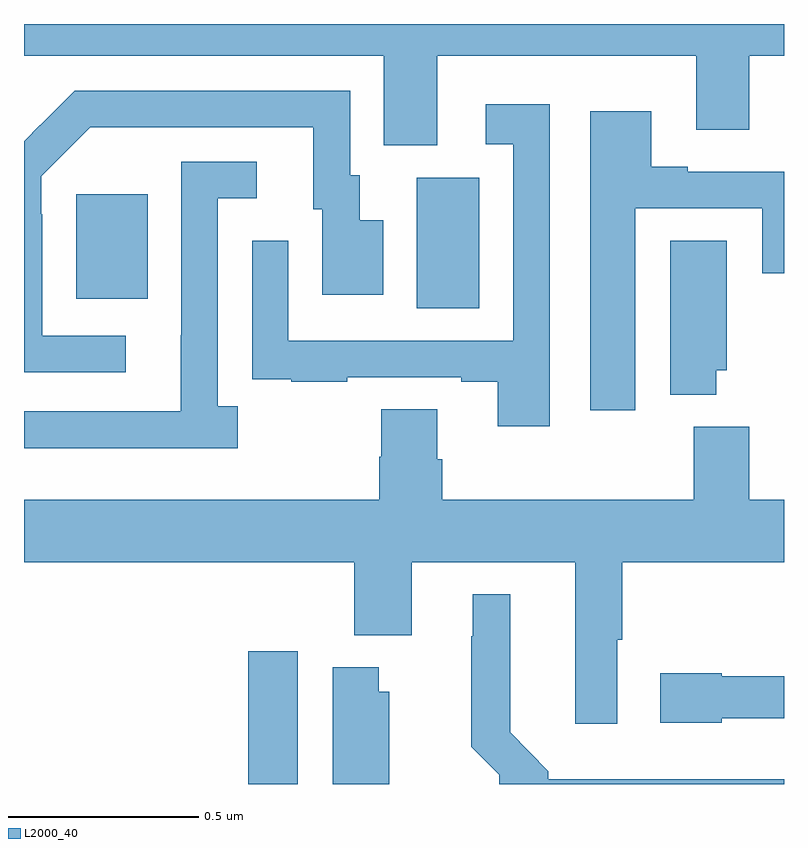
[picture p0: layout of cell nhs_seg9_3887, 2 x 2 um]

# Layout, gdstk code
import gdstk
lib = gdstk.Library(unit=1e-6, precision=1e-09)
def R(c, l, rs):  # rectangles x0, y0, x1, y1
    for r in rs: c.add(gdstk.rectangle(r[:2], r[2:], *l))
def P(c, l, *ps):  # polygons
    for p in ps: c.add(gdstk.Polygon(p, *l))
L2000_40 = (2000, 40)

nhs_seg9_3887 = lib.new_cell('nhs_seg9_3887')
R(nhs_seg9_3887, L2000_40, [(159.59,1198.5,159.721,1198.849), (160.034,1199.752,160.198,1200.096), (159.137,1199.777,159.325,1200.052)])
P(nhs_seg9_3887, L2000_40, [(160.087,1200.416),(160.769,1200.416),(160.769,1200.222),(160.909,1200.222),(160.909,1200.416),(161,1200.416),(161,1200.5),(159,1200.5),(159,1200.416),(159.947,1200.416),(159.947,1200.181),(160.087,1200.181)],
  [(159.268,1199.679),(159.048,1199.679),(159.048,1199.999),(159.045,1199.999),(159.045,1200.099),(159.174,1200.228),(159.761,1200.228),(159.761,1200.012),(159.785,1200.012),(159.785,1199.787),(159.946,1199.787),(159.946,1199.983),(159.883,1199.983),(159.883,1200.102),(159.858,1200.102),(159.858,1200.324),(159.134,1200.324),(159.043,1200.233),(159.042,1200.234),(159,1200.192),(159,1199.583),(159.268,1199.583)],
  [(160.383,1200.289),(160.215,1200.289),(160.215,1200.183),(160.287,1200.183),(160.287,1199.667),(159.696,1199.667),(159.696,1199.929),(159.6,1199.929),(159.6,1199.674),(159.601,1199.674),(159.601,1199.565),(159.703,1199.565),(159.703,1199.559),(159.851,1199.559),(159.851,1199.571),(160.151,1199.571),(160.151,1199.559),(160.247,1199.559),(160.247,1199.442),(160.383,1199.442)],
  [(160.609,1200.015),(160.943,1200.015),(160.943,1199.844),(161,1199.844),(161,1200.111),(160.747,1200.111),(160.747,1200.124),(160.651,1200.124),(160.651,1200.271),(160.49,1200.271),(160.49,1199.484),(160.609,1199.484)],
  [(159.562,1199.494),(159.51,1199.494),(159.51,1200.042),(159.613,1200.042),(159.613,1200.138),(159.414,1200.138),(159.414,1199.681),(159.413,1199.681),(159.413,1199.481),(159,1199.481),(159,1199.384),(159.562,1199.384)],
  [(160.822,1199.589),(160.849,1199.589),(160.849,1199.93),(160.7,1199.93),(160.7,1199.525),(160.822,1199.525)],
  [(160.561,1198.879),(160.574,1198.879),(160.574,1199.084),(161,1199.084),(161,1199.248),(160.909,1199.248),(160.909,1199.44),(160.762,1199.44),(160.762,1199.248),(160.1,1199.248),(160.1,1199.354),(160.087,1199.354),(160.087,1199.486),(159.94,1199.486),(159.94,1199.361),(159.935,1199.361),(159.935,1199.248),(159,1199.248),(159,1199.084),(159.869,1199.084),(159.869,1198.892),(160.021,1198.892),(160.021,1199.084),(160.451,1199.084),(160.451,1198.659),(160.561,1198.659)],
  [(161,1198.513),(160.38,1198.513),(160.38,1198.534),(160.279,1198.636),(160.279,1198.999),(160.181,1198.999),(160.181,1198.889),(160.177,1198.889),(160.177,1198.598),(160.251,1198.524),(160.251,1198.5),(161,1198.5)],
  [(159.961,1198.743),(159.934,1198.743),(159.934,1198.807),(159.812,1198.807),(159.812,1198.5),(159.961,1198.5)],
  [(160.836,1198.673),(161,1198.673),(161,1198.783),(160.836,1198.783),(160.836,1198.791),(160.674,1198.791),(160.674,1198.661),(160.836,1198.661)])

lib.write_gds('nhs_seg9_3887.gds')
